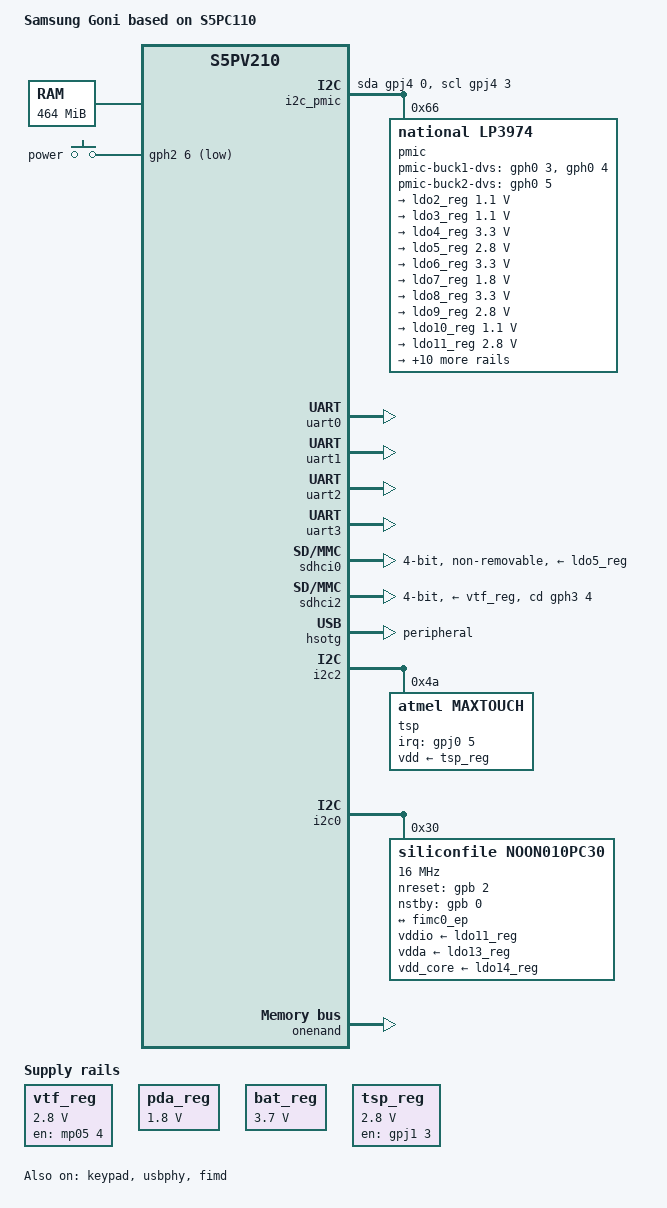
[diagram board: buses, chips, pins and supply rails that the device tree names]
// SPDX-License-Identifier: GPL-2.0
/*
 * Samsung's S5PV210 SoC device tree source
 *
 * Copyright (c) 2013-2014 Samsung Electronics, Co. Ltd.
 *
 * Mateusz Krawczuk <m.krawczuk@partner.samsung.com>
 * Tomasz Figa <t.figa@samsung.com>
 *
 * Board device tree source for Samsung Goni board.
 */

/dts-v1/;
#include <dt-bindings/input/input.h>
#include "s5pv210.dtsi"

/ {
	model = "Samsung Goni based on S5PC110";
	compatible = "samsung,goni", "samsung,s5pv210";

	aliases {
		i2c3 = &i2c_pmic;
	};

	chosen {
		bootargs = "console=ttySAC0,115200n8 root=/dev/mmcblk0p5 rw rootwait ignore_loglevel earlyprintk";
	};

	memory@30000000 {
		device_type = "memory";
		reg = <0x30000000 0x05000000
			0x40000000 0x10000000
			0x50000000 0x08000000>;
	};

	regulators {
		compatible = "simple-bus";
		#address-cells = <1>;
		#size-cells = <0>;

		vtf_reg: fixed-regulator@0 {
			compatible = "regulator-fixed";
			regulator-name = "V_TF_2.8V";
			regulator-min-microvolt = <2800000>;
			regulator-max-microvolt = <2800000>;
			reg = <0>;
			gpio = <&mp05 4 0>;
			enable-active-high;
		};

		pda_reg: fixed-regulator@1 {
			compatible = "regulator-fixed";
			regulator-name = "VCC_1.8V_PDA";
			regulator-min-microvolt = <1800000>;
			regulator-max-microvolt = <1800000>;
			reg = <1>;
		};

		bat_reg: fixed-regulator@2 {
			compatible = "regulator-fixed";
			regulator-name = "V_BAT";
			regulator-min-microvolt = <3700000>;
			regulator-max-microvolt = <3700000>;
			reg = <2>;
		};

		tsp_reg: fixed-regulator@3 {
			compatible = "regulator-fixed";
			regulator-name = "TSP_VDD";
			regulator-min-microvolt = <2800000>;
			regulator-max-microvolt = <2800000>;
			reg = <3>;
			gpio = <&gpj1 3 0>;
			enable-active-high;
		};
	};

	i2c_pmic: i2c-pmic {
		compatible = "i2c-gpio";
		gpios = <&gpj4 0 0>, /* sda */
			<&gpj4 3 0>; /* scl */
		i2c-gpio,delay-us = <2>;        /* ~100 kHz */
		#address-cells = <1>;
		#size-cells = <0>;

		pmic@66 {
			compatible = "national,lp3974";
			reg = <0x66>;

			max8998,pmic-buck1-default-dvs-idx = <0>;
			max8998,pmic-buck1-dvs-gpios = <&gph0 3 0>,
							<&gph0 4 0>;
			max8998,pmic-buck1-dvs-voltage = <1200000>, <1200000>,
							<1200000>, <1200000>;

			max8998,pmic-buck2-default-dvs-idx = <0>;
			max8998,pmic-buck2-dvs-gpio = <&gph0 5 0>;
			max8998,pmic-buck2-dvs-voltage = <1200000>, <1200000>;

			regulators {
				ldo2_reg: LDO2 {
					regulator-name = "VALIVE_1.1V";
					regulator-min-microvolt = <1100000>;
					regulator-max-microvolt = <1100000>;
					regulator-always-on;
				};

				ldo3_reg: LDO3 {
					regulator-name = "VUSB+MIPI_1.1V";
					regulator-min-microvolt = <1100000>;
					regulator-max-microvolt = <1100000>;
					regulator-always-on;
				};

				ldo4_reg: LDO4 {
					regulator-name = "VADC_3.3V";
					regulator-min-microvolt = <3300000>;
					regulator-max-microvolt = <3300000>;
				};

				ldo5_reg: LDO5 {
					regulator-name = "VTF_2.8V";
					regulator-min-microvolt = <2800000>;
					regulator-max-microvolt = <2800000>;
				};

				ldo6_reg: LDO6 {
					regulator-name = "VCC_3.3V";
					regulator-min-microvolt = <3300000>;
					regulator-max-microvolt = <3300000>;
				};

				ldo7_reg: LDO7 {
					regulator-name = "VLCD_1.8V";
					regulator-min-microvolt = <1800000>;
					regulator-max-microvolt = <1800000>;
					regulator-always-on;
				};

				ldo8_reg: LDO8 {
					regulator-name = "VUSB+VDAC_3.3V";
					regulator-min-microvolt = <3300000>;
					regulator-max-microvolt = <3300000>;
				};

				ldo9_reg: LDO9 {
					regulator-name = "VCC+VCAM_2.8V";
					regulator-min-microvolt = <2800000>;
					regulator-max-microvolt = <2800000>;
				};

				ldo10_reg: LDO10 {
					regulator-name = "VPLL_1.1V";
					regulator-min-microvolt = <1100000>;
					regulator-max-microvolt = <1100000>;
					regulator-boot-on;
				};

				ldo11_reg: LDO11 {
					regulator-name = "CAM_IO_2.8V";
					regulator-min-microvolt = <2800000>;
					regulator-max-microvolt = <2800000>;
				};

				ldo12_reg: LDO12 {
					regulator-name = "CAM_ISP_1.2V";
					regulator-min-microvolt = <1200000>;
					regulator-max-microvolt = <1200000>;
				};

				ldo13_reg: LDO13 {
					regulator-name = "CAM_A_2.8V";
					regulator-min-microvolt = <2800000>;
					regulator-max-microvolt = <2800000>;
				};

				ldo14_reg: LDO14 {
					regulator-name = "CAM_CIF_1.8V";
					regulator-min-microvolt = <1800000>;
					regulator-max-microvolt = <1800000>;
				};

				ldo15_reg: LDO15 {
					regulator-name = "CAM_AF_3.3V";
					regulator-min-microvolt = <3300000>;
					regulator-max-microvolt = <3300000>;
				};

				ldo16_reg: LDO16 {
					regulator-name = "VMIPI_1.8V";
					regulator-min-microvolt = <1800000>;
					regulator-max-microvolt = <1800000>;
				};

				ldo17_reg: LDO17 {
					regulator-name = "CAM_8M_1.8V";
					regulator-min-microvolt = <1800000>;
					regulator-max-microvolt = <1800000>;
					regulator-always-on;
				};

				buck1_reg: BUCK1 {
					regulator-name = "VARM_1.2V";
					regulator-min-microvolt = <1200000>;
					regulator-max-microvolt = <1200000>;
				};

				buck2_reg: BUCK2 {
					regulator-name = "VINT_1.2V";
					regulator-min-microvolt = <1200000>;
					regulator-max-microvolt = <1200000>;
				};

				buck3_reg: BUCK3 {
					regulator-name = "VCC_1.8V";
					regulator-min-microvolt = <1800000>;
					regulator-max-microvolt = <1800000>;
					regulator-always-on;
				};

				buck4_reg: BUCK4 {
					regulator-name = "CAM_CORE_1.2V";
					regulator-min-microvolt = <1200000>;
					regulator-max-microvolt = <1200000>;
					regulator-always-on;
				};
			};
		};
	};

	gpio-keys {
		compatible = "gpio-keys";

		power-key {
			gpios = <&gph2 6 1>;
			linux,code = <KEY_POWER>;
			label = "power";
			debounce-interval = <1>;
			wakeup-source;
		};
	};
};

&xusbxti {
	clock-frequency = <24000000>;
};

&keypad {
	linux,input-no-autorepeat;
	wakeup-source;
	samsung,keypad-num-rows = <3>;
	samsung,keypad-num-columns = <3>;
	pinctrl-names = "default";
	pinctrl-0 = <&keypad_row0>, <&keypad_row1>, <&keypad_row2>,
			<&keypad_col0>, <&keypad_col1>, <&keypad_col2>;
	status = "okay";

	key_1 {
		keypad,row = <0>;
		keypad,column = <1>;
		linux,code = <KEY_CONNECT>;
	};

	key_2 {
		keypad,row = <0>;
		keypad,column = <2>;
		linux,code = <KEY_BACK>;
	};

	key_3 {
		keypad,row = <1>;
		keypad,column = <1>;
		linux,code = <KEY_CAMERA_FOCUS>;
	};

	key_4 {
		keypad,row = <1>;
		keypad,column = <2>;
		linux,code = <KEY_VOLUMEUP>;
	};

	key_5 {
		keypad,row = <2>;
		keypad,column = <1>;
		linux,code = <KEY_CAMERA>;
	};

	key_6 {
		keypad,row = <2>;
		keypad,column = <2>;
		linux,code = <KEY_VOLUMEDOWN>;
	};
};

&uart0 {
	status = "okay";
};

&uart1 {
	status = "okay";
};

&uart2 {
	status = "okay";
};

&uart3 {
	status = "okay";
};

&sdhci0 {
	bus-width = <4>;
	non-removable;
	vmmc-supply = <&ldo5_reg>;
	pinctrl-0 = <&sd0_clk &sd0_cmd &sd0_cd &sd0_bus1 &sd0_bus4>;
	pinctrl-names = "default";
	status = "okay";
};

&sdhci2 {
	bus-width = <4>;
	cd-gpios = <&gph3 4 1>;
	vmmc-supply = <&vtf_reg>;
	cd-inverted;
	pinctrl-0 = <&sd2_clk &sd2_cmd &sd2_bus4>;
	pinctrl-names = "default";
	status = "okay";
};

&hsotg {
	vusb_a-supply = <&ldo3_reg>;
	vusb_d-supply = <&ldo8_reg>;
	dr_mode = "peripheral";
	status = "okay";
};

&usbphy {
	status = "okay";
};

&i2c2 {
	samsung,i2c-sda-delay = <100>;
	samsung,i2c-max-bus-freq = <400000>;
	samsung,i2c-slave-addr = <0x10>;
	status = "okay";

	tsp@4a {
		compatible = "atmel,maxtouch";
		reg = <0x4a>;
		interrupt-parent = <&gpj0>;
		interrupts = <5 2>;

		atmel,x-line = <17>;
		atmel,y-line = <11>;
		atmel,x-size = <800>;
		atmel,y-size = <480>;
		atmel,burst-length = <0x21>;
		atmel,threshold = <0x28>;
		atmel,orientation = <1>;

		vdd-supply = <&tsp_reg>;
	};
};

&i2c0 {
	samsung,i2c-sda-delay = <100>;
	samsung,i2c-max-bus-freq = <100000>;
	samsung,i2c-slave-addr = <0x10>;
	status = "okay";

	noon010pc30: sensor@30 {
		compatible = "siliconfile,noon010pc30";
		reg = <0x30>;
		vddio-supply = <&ldo11_reg>;
		vdda-supply = <&ldo13_reg>;
		vdd_core-supply = <&ldo14_reg>;

		clock-frequency = <16000000>;
		clocks = <&camera 0>;
		clock-names = "mclk";
		nreset-gpios = <&gpb 2 0>;
		nstby-gpios = <&gpb 0 0>;

		port {
			noon010pc30_ep: endpoint {
				remote-endpoint = <&fimc0_ep>;
				bus-width = <8>;
				hsync-active = <0>;
				vsync-active = <1>;
				pclk-sample = <1>;
			};
		};
	};
};

&camera {
	pinctrl-0 = <&cam_port_a_io &cam_port_a_clk_active>;
	pinctrl-1 = <&cam_port_a_io &cam_port_a_clk_idle>;
	pinctrl-names = "default", "idle";

	parallel-ports {
		#address-cells = <1>;
		#size-cells = <0>;

		/* camera A input */
		port@1 {
			reg = <1>;
			fimc0_ep: endpoint {
				remote-endpoint = <&noon010pc30_ep>;
				bus-width = <8>;
				hsync-active = <1>;
				vsync-active = <1>;
				pclk-sample = <0>;
			};
		};
	};
};

&fimd {
	pinctrl-0 = <&lcd_clk &lcd_data24>;
	pinctrl-names = "default";
	status = "okay";

	display-timings {
		native-mode = <&timing0>;
		timing0: timing {
			/* 480x800@55Hz */
			clock-frequency = <23439570>;
			hactive = <480>;
			hfront-porch = <16>;
			hback-porch = <16>;
			hsync-len = <2>;
			vactive = <800>;
			vback-porch = <2>;
			vfront-porch = <28>;
			vsync-len = <1>;
			hsync-active = <0>;
			vsync-active = <0>;
			de-active = <0>;
			pixelclk-active = <0>;
		};
	};
};

&onenand {
	status = "okay";
};
